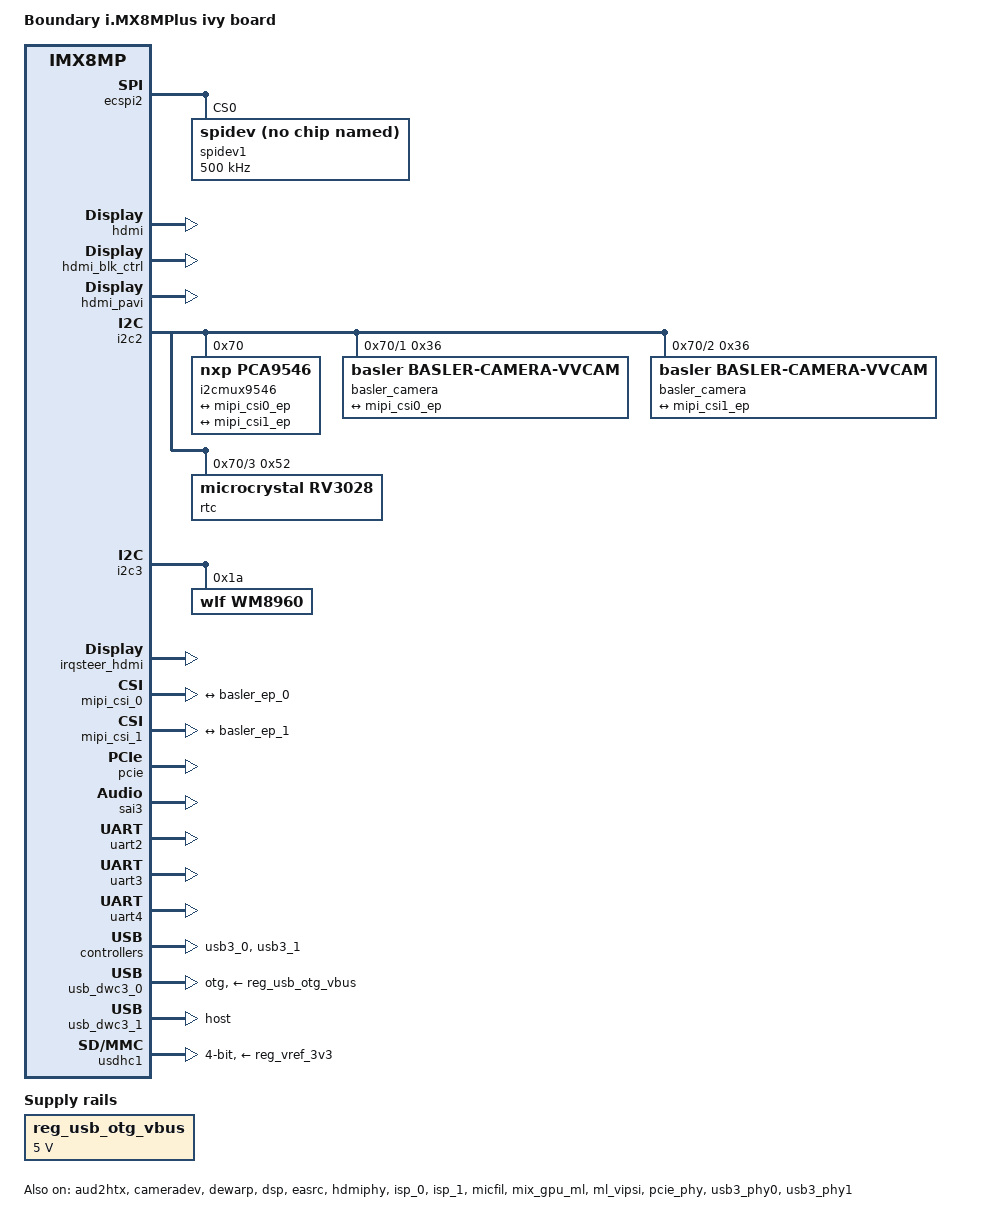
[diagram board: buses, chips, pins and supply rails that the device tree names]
// SPDX-License-Identifier: (GPL-2.0+ OR MIT)
/*
 * Copyright 2020 Boundar y Devices
 */

/dts-v1/;

#include <dt-bindings/usb/pd.h>
#include "imx8mp-nitrogen8mp-som.dtsi"

&iomuxc {
	pinctrl-names = "default";
	pinctrl-0 = <&pinctrl_hog>;

	pinctrl_ecspi1: ecspi1grp {
		fsl,pins = <
			/* J31 */
			MX8MP_IOMUXC_ECSPI1_SCLK__ECSPI1_SCLK		0x82
			MX8MP_IOMUXC_ECSPI1_MOSI__ECSPI1_MOSI		0x82
			MX8MP_IOMUXC_ECSPI1_MISO__ECSPI1_MISO		0x82
#define GP_ECSPI1_CS	<&gpio5 9 GPIO_ACTIVE_LOW>
			MX8MP_IOMUXC_ECSPI1_SS0__GPIO5_IO09		0x143
		>;
	};

	pinctrl_ecspi2: ecspi2grp {
		fsl,pins = <
			/* J31 */
			MX8MP_IOMUXC_ECSPI2_SCLK__ECSPI2_SCLK		0x82
			MX8MP_IOMUXC_ECSPI2_MOSI__ECSPI2_MOSI		0x82
			MX8MP_IOMUXC_ECSPI2_MISO__ECSPI2_MISO		0x82
#define GP_ECSPI2_CS	<&gpio5 13 GPIO_ACTIVE_LOW>
			MX8MP_IOMUXC_ECSPI2_SS0__GPIO5_IO13		0x143
		>;
	};

	pinctrl_hog: hoggrp {
		fsl,pins = <
			MX8MP_IOMUXC_GPIO1_IO03__GPIO1_IO03	0x100	/* NVCC_SD1 should always be 3.3V */
#define GP_RST_L_DEBUG		<&gpio1 11 GPIO_ACTIVE_LOW>
			MX8MP_IOMUXC_GPIO1_IO11__GPIO1_IO11	0x100
#define GPIRQ_L_DEBUG		<&gpio1 7 GPIO_ACTIVE_LOW>
			MX8MP_IOMUXC_GPIO1_IO07__GPIO1_IO07	0x100
			MX8MP_IOMUXC_GPIO1_IO14__GPIO1_IO14	0x16	/* TPN11 */
			MX8MP_IOMUXC_SAI1_RXC__GPIO4_IO01	0x16
#define GP_EXP_DETECT		<&gpio4 2 GPIO_ACTIVE_HIGH>
			MX8MP_IOMUXC_SAI1_RXD0__GPIO4_IO02	0x16
			MX8MP_IOMUXC_SAI1_RXD1__GPIO4_IO03	0x16
#define GP_EXP_RST_L		<&gpio4 4 GPIO_ACTIVE_LOW>
			MX8MP_IOMUXC_SAI1_RXD2__GPIO4_IO04	0x100
#define GP_EXP_GPIO2_3		<&gpio4 6 GPIO_ACTIVE_HIGH>
			MX8MP_IOMUXC_SAI1_RXD4__GPIO4_IO06	0x100
#define GP_EXP_GPIO2_2		<&gpio3 19 GPIO_ACTIVE_HIGH>
			MX8MP_IOMUXC_SAI5_RXFS__GPIO3_IO19	0x100
#define GP_EXP_GPIO2_1		<&gpio4 7 GPIO_ACTIVE_HIGH>
			MX8MP_IOMUXC_SAI1_RXD5__GPIO4_IO07	0x100
#define GP_EXP_GPIO2_0		<&gpio3 20 GPIO_ACTIVE_HIGH>
			MX8MP_IOMUXC_SAI5_RXC__GPIO3_IO20	0x100
#define GP_EXP_GPIO1_3		<&gpio4 8 GPIO_ACTIVE_HIGH>
			MX8MP_IOMUXC_SAI1_RXD6__GPIO4_IO08	0x100
#define GP_EXP_GPIO1_2		<&gpio4 9 GPIO_ACTIVE_HIGH>
			MX8MP_IOMUXC_SAI1_RXD7__GPIO4_IO09	0x100
#define GP_EXP_GPIO1_1		<&gpio3 25 GPIO_ACTIVE_HIGH>
			MX8MP_IOMUXC_SAI5_MCLK__GPIO3_IO25	0x100
#define GP_EXP_GPIO1_0		<&gpio4 11 GPIO_ACTIVE_HIGH>
			MX8MP_IOMUXC_SAI1_TXC__GPIO4_IO11	0x100
#define GP_EXP_GPIO0_7		<&gpio3 24 GPIO_ACTIVE_HIGH>
			MX8MP_IOMUXC_SAI5_RXD3__GPIO3_IO24	0x100
#define GP_EXP_GPIO0_6		<&gpio3 23 GPIO_ACTIVE_HIGH>
			MX8MP_IOMUXC_SAI5_RXD2__GPIO3_IO23	0x100
#define GP_EXP_GPIO0_5		<&gpio4 12 GPIO_ACTIVE_HIGH>
			MX8MP_IOMUXC_SAI1_TXD0__GPIO4_IO12	0x100
#define GP_EXP_GPIO0_4		<&gpio3 22 GPIO_ACTIVE_HIGH>
			MX8MP_IOMUXC_SAI5_RXD1__GPIO3_IO22	0x100
#define GP_EXP_GPIO0_3		<&gpio4 13 GPIO_ACTIVE_HIGH>
			MX8MP_IOMUXC_SAI1_TXD1__GPIO4_IO13	0x100
#define GP_EXP_GPIO0_2		<&gpio4 14 GPIO_ACTIVE_HIGH>
			MX8MP_IOMUXC_SAI1_TXD2__GPIO4_IO14	0x100
#define GP_EXP_GPIO0_1		<&gpio4 15 GPIO_ACTIVE_HIGH>
			MX8MP_IOMUXC_SAI1_TXD3__GPIO4_IO15	0x100
#define GP_EXP_GPIO0_0		<&gpio5 3 GPIO_ACTIVE_HIGH>
			MX8MP_IOMUXC_SPDIF_TX__GPIO5_IO03	0x100
#define GP_CORE_GPIO_5		<&gpio4 16 GPIO_ACTIVE_HIGH>
			MX8MP_IOMUXC_SAI1_TXD4__GPIO4_IO16	0x100
#define GP_CORE_GPIO_4		<&gpio5 4 GPIO_ACTIVE_HIGH>
			MX8MP_IOMUXC_SPDIF_RX__GPIO5_IO04	0x100
#define GP_CORE_GPIO_3		<&gpio5 5 GPIO_ACTIVE_HIGH>
			MX8MP_IOMUXC_SPDIF_EXT_CLK__GPIO5_IO05	0x100
#define GP_CORE_GPIO_2		<&gpio4 19 GPIO_ACTIVE_HIGH>
			MX8MP_IOMUXC_SAI1_TXD7__GPIO4_IO19	0x100
#define GP_CORE_GPIO_1		<&gpio4 10 GPIO_ACTIVE_HIGH>
			MX8MP_IOMUXC_SAI1_TXFS__GPIO4_IO10	0x100
#define GP_CORE_GPIO_0		<&gpio4 20 GPIO_ACTIVE_HIGH>
			MX8MP_IOMUXC_SAI1_MCLK__GPIO4_IO20	0x100
			MX8MP_IOMUXC_HDMI_DDC_SCL__HDMIMIX_HDMI_SCL	0x400001c3
			MX8MP_IOMUXC_HDMI_DDC_SDA__HDMIMIX_HDMI_SDA	0x400001c3
			MX8MP_IOMUXC_HDMI_HPD__HDMIMIX_HDMI_HPD		0x40000019
			MX8MP_IOMUXC_HDMI_CEC__HDMIMIX_HDMI_CEC		0x40000019
			MX8MP_IOMUXC_NAND_DATA02__GPIO3_IO08	0x100
			MX8MP_IOMUXC_NAND_DATA01__GPIO3_IO07	0x100
			MX8MP_IOMUXC_NAND_DATA00__GPIO3_IO06	0x100
			MX8MP_IOMUXC_SD1_RESET_B__GPIO2_IO10	0x100
#define GP_LVDS_GPIO_3		<&gpio4 23 GPIO_ACTIVE_HIGH>
			MX8MP_IOMUXC_SAI2_RXD0__GPIO4_IO23	0x100
#define GP_LVDS0_GPIOB		<&gpio2 06 GPIO_ACTIVE_HIGH>
			MX8MP_IOMUXC_SD1_DATA4__GPIO2_IO06	0x100
			MX8MP_IOMUXC_GPIO1_IO08__GPIO1_IO08	0x100
			MX8MP_IOMUXC_SAI5_RXD0__GPIO3_IO21	0x100
		>;
	};

	pinctrl_i2c2_pca9546: i2c2-pca9546grp {
		fsl,pins = <
#define GP_PCA9546_RESET	<&gpio1 10 GPIO_ACTIVE_LOW>
			MX8MP_IOMUXC_GPIO1_IO10__GPIO1_IO10	0x100
		>;
	};

	pinctrl_i2c2d_rv3028: i2c2d-rv3028grp {
		fsl,pins = <
#define GPIRQ_RV3028		<&gpio1 4 IRQ_TYPE_LEVEL_LOW>
			MX8MP_IOMUXC_GPIO1_IO04__GPIO1_IO04		0x1c0
		>;
	};

	pinctrl_pdm: pdmgrp {
		fsl,pins = <
			MX8MP_IOMUXC_SAI3_RXFS__AUDIOMIX_PDM_BIT_STREAM00	0xd6
		>;
	};

	pinctrl_pcie: pciegrp {
		fsl,pins = <
#define GP_PCIE_RESET	<&gpio4 29 GPIO_ACTIVE_LOW>
			MX8MP_IOMUXC_SAI3_RXC__GPIO4_IO29	0x41
#define GP_PCIE_DISABLE	<&gpio4 26 GPIO_ACTIVE_LOW>
			MX8MP_IOMUXC_SAI2_TXD0__GPIO4_IO26	0x41
		>;
	};

	pinctrl_reg_usbotg_vbus: reg-usbotg-vbusgrp {
		fsl,pins = <
#define GP_REG_USB_OTG_VBUS	<&gpio1 12 GPIO_ACTIVE_HIGH>
			MX8MP_IOMUXC_GPIO1_IO12__GPIO1_IO12	0x16
		>;
	};

	pinctrl_sai3: sai3grp {
		fsl,pins = <
			/* WM8960 */
			MX8MP_IOMUXC_SAI3_TXFS__AUDIOMIX_SAI3_TX_SYNC	0xd6
			MX8MP_IOMUXC_SAI3_TXC__AUDIOMIX_SAI3_TX_BCLK	0xd6
			MX8MP_IOMUXC_SAI3_RXD__AUDIOMIX_SAI3_RX_DATA00	0xd6
			MX8MP_IOMUXC_SAI3_TXD__AUDIOMIX_SAI3_TX_DATA00	0xd6
			MX8MP_IOMUXC_SAI3_MCLK__AUDIOMIX_SAI3_MCLK	0xd6
		>;
	};

	pinctrl_sound_wm8960: sound-wm8960grp {
		fsl,pins = <
#define GP_WM8960_MIC_DET	<&gpio4 18 GPIO_ACTIVE_LOW>
			MX8MP_IOMUXC_SAI1_TXD6__GPIO4_IO18	0x1c0
#define GP_WM8960_HP_DET	<&gpio4 17 GPIO_ACTIVE_HIGH>
			MX8MP_IOMUXC_SAI1_TXD5__GPIO4_IO17	0x80
		>;
	};

	pinctrl_uart2: uart2grp {
		fsl,pins = <
			MX8MP_IOMUXC_UART2_RXD__UART2_DCE_RX	0x140
			MX8MP_IOMUXC_UART2_TXD__UART2_DCE_TX	0x140
		>;
	};

	pinctrl_uart3: uart3grp {
		fsl,pins = <
			MX8MP_IOMUXC_SD1_DATA7__UART3_DCE_RX	0x140
			MX8MP_IOMUXC_SD1_DATA6__UART3_DCE_TX	0x140
		>;
	};

	pinctrl_uart4: uart4grp {
		fsl,pins = <
			MX8MP_IOMUXC_UART4_RXD__UART4_DCE_RX	0x140
			MX8MP_IOMUXC_UART4_TXD__UART4_DCE_TX	0x140
		>;
	};

	pinctrl_usb3_0: usb3-0grp {
		fsl,pins = <
			MX8MP_IOMUXC_GPIO1_IO13__USB1_OTG_OC	0x1c0
		>;
	};

	pinctrl_usb3_1: usb3-1grp {
		fsl,pins = <
#define GP_USB3_1_HUB_RESET	<&gpio1 6 GPIO_ACTIVE_LOW>
			MX8MP_IOMUXC_GPIO1_IO06__GPIO1_IO06	0x16
#define GP_USB3_1_EXP_RESET	<&gpio4 5 GPIO_ACTIVE_LOW>
			MX8MP_IOMUXC_SAI1_RXD3__GPIO4_IO05	0x16
		>;
	};

	pinctrl_usdhc1: usdhc1grp {
		fsl,pins = <
			MX8MP_IOMUXC_SD1_CLK__USDHC1_CLK	0x190
			MX8MP_IOMUXC_SD1_CMD__USDHC1_CMD	0x1d0
			MX8MP_IOMUXC_SD1_DATA0__USDHC1_DATA0	0x1d0
			MX8MP_IOMUXC_SD1_DATA1__USDHC1_DATA1	0x1d0
			MX8MP_IOMUXC_SD1_DATA2__USDHC1_DATA2	0x1d0
			MX8MP_IOMUXC_SD1_DATA3__USDHC1_DATA3	0x1d0
#define GP_USDHC1_CD	<&gpio2 11 GPIO_ACTIVE_LOW>
			MX8MP_IOMUXC_SD1_STROBE__GPIO2_IO11	0x1c4
		>;
	};
};

/ {
	model = "Boundary i.MX8MPlus ivy board";
	compatible = "boundary,imx8mp-ivy", "fsl,imx8mp";

	aliases {
		fb_hdmi = &lcdif3;
	};

	chosen {
		stdout-path = &uart2;
	};

	reg_usb_otg_vbus: regulator-usb-otg-vbus {
		compatible = "regulator-fixed";
		pinctrl-names = "default";
		pinctrl-0 = <&pinctrl_reg_usbotg_vbus>;
		regulator-name = "usb_otg_vbus";
		regulator-min-microvolt = <5000000>;
		regulator-max-microvolt = <5000000>;
		gpio = GP_REG_USB_OTG_VBUS;
		enable-active-high;
	};

	sound-hdmi {
		compatible = "fsl,imx-audio-hdmi";
		model = "audio-hdmi";
		audio-cpu = <&aud2htx>;
		hdmi-out;
		constraint-rate = <44100>,
				<88200>,
				<176400>,
				<32000>,
				<48000>,
				<96000>,
				<192000>;
		status = "okay";
	};

	sound-wm8960 {
#if 0
		asrc-controller = <&easrc>;
#endif
		audio-codec = <&wm8960>;
		audio-cpu = <&sai3>;
		audio-routing =
			"Headphone Jack", "HP_L",
			"Headphone Jack", "HP_R",
			"Ext Spk", "SPK_LP",
			"Ext Spk", "SPK_LN",
			"Ext Spk", "SPK_RP",
			"Ext Spk", "SPK_RN",
			"LINPUT1", "Main MIC",
			"Main MIC", "MICB",
			"RINPUT1", "Mic Jack",
			"Mic Jack", "MICB";
#if 0
			"CPU-Playback", "ASRC-Playback",
			"Playback", "CPU-Playback",
			"ASRC-Capture", "CPU-Capture",
			"CPU-Capture", "Capture";
#endif
		codec-master;
		compatible = "fsl,imx-audio-wm8960";
		hp-det = <2 0>;
		hp-det-gpio = GP_WM8960_HP_DET;
		mic-det-gpio = GP_WM8960_MIC_DET;
		model = "wm8960-audio";
		pinctrl-names = "default";
		pinctrl-0 = <&pinctrl_sound_wm8960>;
	};

	sound-micfil {
		compatible = "fsl,imx-audio-micfil";
		model = "imx-audio-micfil";
		cpu-dai = <&micfil>;
	};
};

&aud2htx {
	status = "okay";
};

&cameradev {
	status = "okay";
};

&dewarp {
	status = "okay";
};

&dsp {
	status = "okay";
};

&easrc {
	fsl,asrc-rate  = <48000>;
	status = "okay";
};

&ecspi2 {
	#address-cells = <1>;
	#size-cells = <0>;
	fsl,spi-num-chipselects = <1>;
	pinctrl-names = "default";
	pinctrl-0 = <&pinctrl_ecspi2>;
	cs-gpios = GP_ECSPI2_CS;
	status = "okay";

	spidev1: spi@0 {
		compatible = "spidev";
		reg = <0>;
		spi-max-frequency = <500000>;
	};
};

&hdmi {
	status = "okay";
};

&hdmiphy {
	status = "okay";
};

&hdmi_blk_ctrl {
	status = "okay";
};

&hdmi_pavi {
	status = "okay";
};

&i2c2 {
	i2cmux9546@70 {
		pinctrl-names = "default";
		pinctrl-0 = <&pinctrl_i2c2_pca9546>;
		compatible = "nxp,pca9546";
		reg = <0x70>;
		reset-gpios = GP_PCA9546_RESET;
		#address-cells = <1>;
		#size-cells = <0>;

		i2c2a: i2c2@0 {
			clock-frequency = <100000>;
			reg = <0>;
			#address-cells = <1>;
			#size-cells = <0>;
		};

		i2c2b: i2c2@1 {
			/* J9  - camera*/
			clock-frequency = <100000>;
			reg = <1>;
			#address-cells = <1>;
			#size-cells = <0>;
			/* edid  @50 */
		};

		i2c2c: i2c2@2 {
			/* J10 - camera */
			clock-frequency = <100000>;
			reg = <2>;
			#address-cells = <1>;
			#size-cells = <0>;
		};

		i2c2d: i2c2@3 {
			/* rtc, J20 mipi */
			clock-frequency = <100000>;
			reg = <3>;
			#address-cells = <1>;
			#size-cells = <0>;
		};
	};
};

&i2c2b {
	basler_camera@36 {
		compatible = "basler,basler-camera-vvcam", "basler-camera-vvcam";
		reg = <0x36>;
		csi_id = <0x00>;
		status = "okay";

		port {
			basler_ep_0: endpoint {
				clock-lanes = <0>;
				data-lanes = <1 2 3 4>;
				link-frequencies = /bits/ 64 <750000000>;
				max-lane-frequency = /bits/ 64 <750000000>;
				max-pixel-frequency = /bits/ 64 <266000000>;
				max-data-rate = /bits/ 64 <0>;
				remote-endpoint = <&mipi_csi0_ep>;
			};
		};
	};
};

&i2c2c {
	basler_camera@36 {
		compatible = "basler,basler-camera-vvcam", "basler-camera-vvcam";
		reg = <0x36>;
		csi_id = <0x01>;
		status = "okay";

		port {
			basler_ep_1: endpoint {
				clock-lanes = <0>;
				data-lanes = <1 2 3 4>;
				link-frequencies = /bits/ 64 <750000000>;
				max-lane-frequency = /bits/ 64 <750000000>;
				max-pixel-frequency = /bits/ 64 <266000000>;
				max-data-rate = /bits/ 64 <0>;
				remote-endpoint = <&mipi_csi1_ep>;
			};
		};
	};
};

&i2c2d {
	rtc@52 {
		backup-switchover-dsm;
		compatible = "microcrystal,rv3028";
		pinctrl-names = "default";
		pinctrl-0 = <&pinctrl_i2c2d_rv3028>;
		reg = <0x52>;
		interrupts-extended = GPIRQ_RV3028;
		wakeup-source;
	};
};

&i2c3 {
	wm8960: codec@1a {
		clock-names = "mclk";
		clocks = <&audio_blk_ctrl IMX8MP_CLK_AUDIO_BLK_CTRL_SAI3_MCLK1>;
		compatible = "wlf,wm8960";
		reg = <0x1a>;
		wlf,gpio-cfg = <1 3>;
		/* JD2: hp detect high for headphone*/
		wlf,hp-cfg = <2 0 3>;
		wlf,shared-lrclk;
	};
};

&irqsteer_hdmi {
	status = "okay";
};

&isp_0 {
	status = "okay";
};

&isp_1 {
	status = "okay";
};

&micfil {
	pinctrl-names = "default";
	pinctrl-0 = <&pinctrl_pdm>;
	assigned-clocks = <&clk IMX8MP_CLK_PDM>;
	assigned-clock-parents = <&clk IMX8MP_AUDIO_PLL1_OUT>;
	assigned-clock-rates = <196608000>;
	status = "okay";
};

&mipi_csi_0 {
	#address-cells = <1>;
	#size-cells = <0>;
	status = "okay";

	port@0 {
		reg = <0>;

		mipi_csi0_ep: endpoint {
			csis-clk-settle = <2>;
			csis-hs-settle = <16>;
			csis-wclk;
			data-lanes = <4>;
			remote-endpoint = <&basler_ep_0>;
		};
	};
};

&mipi_csi_1 {
	#address-cells = <1>;
	#size-cells = <0>;
	status = "okay";

	port@1 {
		reg = <1>;

		mipi_csi1_ep: endpoint {
			csis-clk-settle = <2>;
			csis-hs-settle = <16>;
			csis-wclk;
			data-lanes = <4>;
			remote-endpoint = <&basler_ep_1>;
		};
	};
};

&mipi_dsi {
	clocks = <&media_blk_ctrl IMX8MP_CLK_MEDIA_BLK_CTRL_MIPI_DSI_PCLK>,
		 <&media_blk_ctrl IMX8MP_CLK_MEDIA_BLK_CTRL_MIPI_DSI_CLKREF>,
		 <&clk IMX8MP_CLK_MEDIA_DISP1_PIX_ROOT>;
	clock-names = "cfg", "pll-ref", "pixel_clock";
};

&mix_gpu_ml {
	status = "okay";
};

&ml_vipsi {
	status = "okay";
};

&pcie {
	assigned-clocks = <&clk IMX8MP_CLK_HSIO_AXI>,
			  <&clk IMX8MP_CLK_PCIE_AUX>;
	assigned-clock-parents = <&clk IMX8MP_SYS_PLL2_500M>,
				 <&clk IMX8MP_SYS_PLL2_50M>;
	assigned-clock-rates = <500000000>, <10000000>;
	clocks = <&clk IMX8MP_CLK_HSIO_ROOT>,
		 <&clk IMX8MP_CLK_PCIE_AUX>,
		 <&clk IMX8MP_CLK_HSIO_AXI>,
		 <&clk IMX8MP_CLK_PCIE_ROOT>;
	clock-names = "pcie", "pcie_aux", "pcie_phy", "pcie_bus";
	disable-gpio = GP_PCIE_DISABLE;
	ext_osc = <0>;
	pinctrl-names = "default";
	pinctrl-0 = <&pinctrl_pcie>;
	reset-gpio = GP_PCIE_RESET;
	status = "okay";
};

&pcie_phy {
	clk_mode = <3>;
	status = "okay";
};

&sai3 {
	pinctrl-names = "default";
	pinctrl-0 = <&pinctrl_sai3>;
	assigned-clocks = <&clk IMX8MP_CLK_SAI3>;
	assigned-clock-parents = <&clk IMX8MP_AUDIO_PLL1_OUT>;
	assigned-clock-rates = <12288000>;
	clocks = <&audio_blk_ctrl IMX8MP_CLK_AUDIO_BLK_CTRL_SAI3_IPG>, <&clk IMX8MP_CLK_DUMMY>,
		 <&audio_blk_ctrl IMX8MP_CLK_AUDIO_BLK_CTRL_SAI3_MCLK1>, <&clk IMX8MP_CLK_DUMMY>,
		 <&clk IMX8MP_CLK_DUMMY>;
	clock-names = "bus", "mclk0", "mclk1", "mclk2", "mclk3";
	fsl,sai-mclk-direction-output;
	status = "okay";
};

&uart2 {
	/* console */
	pinctrl-names = "default";
	pinctrl-0 = <&pinctrl_uart2>;
	status = "okay";
};

&uart3 {
	pinctrl-names = "default";
	pinctrl-0 = <&pinctrl_uart3>;
	assigned-clocks = <&clk IMX8MP_CLK_UART3>;
	assigned-clock-parents = <&clk IMX8MP_SYS_PLL1_80M>;
	status = "okay";
};

&uart4 {
	pinctrl-names = "default";
	pinctrl-0 = <&pinctrl_uart4>;
	assigned-clocks = <&clk IMX8MP_CLK_UART4>;
	assigned-clock-parents = <&clk IMX8MP_SYS_PLL1_80M>;
	status = "okay";
};

&usb3_0 {
	fsl,over-current-active-low;
	status = "okay";
};

&usb3_1 {
	status = "okay";
};

&usb_dwc3_0 {
	dr_mode = "otg";
	pinctrl-names = "default";
	pinctrl-0 = <&pinctrl_usb3_0>;
	status = "okay";
	vbus-supply = <&reg_usb_otg_vbus>;
};

&usb_dwc3_1 {
	dr_mode = "host";
	pinctrl-names = "default";
	pinctrl-0 = <&pinctrl_usb3_1>;
	reset-gpios = GP_USB3_1_HUB_RESET, GP_USB3_1_EXP_RESET;
	status = "okay";
};

&usb3_phy0 {
	fsl,phy-tx-preemp-amp-tune = <2>;
	status = "okay";
	vbus-supply = <&reg_vref_5v0>;
};

&usb3_phy1 {
	fsl,phy-tx-preemp-amp-tune = <2>;
	status = "okay";
	vbus-supply = <&reg_vref_5v0>;
};

&usdhc1 {
	bus-width = <4>;
	cd-gpios = GP_USDHC1_CD;
	pinctrl-names = "default";
	pinctrl-0 = <&pinctrl_usdhc1>;
	status = "okay";
	vmmc-supply = <&reg_vref_3v3>;
};

/* J20 mipi display */
#define MIPI_DISPLAY		lcdif1
#define MIPI_SUBSYSTEM		display_subsystem
#define MIPI_I2C_BUS		i2c2d
#define MIPI_PWM		pwm1
#define MIPI_PHY_CLOCK		<&mipi_dsi 0>
#define MIPI_PIXEL_CLOCK	<&clk IMX8MP_CLK_MEDIA_DISP1_PIX_ROOT>

#define MIPI_PWM_GP		gpio1 1
#define MIPI_PWM_PAD		MX8MP_IOMUXC_GPIO1_IO01__PWM1_OUT
#define MIPI_PWM_PAD_GPIO	MX8MP_IOMUXC_GPIO1_IO01__GPIO1_IO01	/* Pin 7 */

#define MIPI_IRQ_GP		gpio4 0
#define MIPI_IRQ_PAD		MX8MP_IOMUXC_SAI1_RXFS__GPIO4_IO00	/* Pin 8 */

#define MIPI_TS_IRQ_GP		gpio4 25
#define MIPI_TS_IRQ_PAD		MX8MP_IOMUXC_SAI2_TXC__GPIO4_IO25	/* Pin 9 */

#define MIPI_TS_RESET_GP	gpio4 24
#define MIPI_TS_RESET_PAD	MX8MP_IOMUXC_SAI2_TXFS__GPIO4_IO24	/* Pin 10 */

#define MIPI_ENABLE_GP		gpio4 27
#define MIPI_ENABLE_PAD		MX8MP_IOMUXC_SAI2_MCLK__GPIO4_IO27	/* Pin 11 */

#define PAD_NOPULL		0x0
#define PAD_PULLDN		0x100
#define PAD_PULLUP		0x140
#define PAD_PULLDNIRQ		0x180
#define PAD_PULLUPIRQ		0x1c0
#include "nitrogen-mipi-dsi.dtsi"

#define LVDS_DISPLAY		lcdif2
#define LVDS_PWM		pwm2
#define LVDS_PWM_PAD(a)		MX8MP_IOMUXC_GPIO1_IO09__PWM2_OUT a

#define LVDS_BACKLIGHT_GP	gpio4 22
#define LVDS_BACKLIGHT_PAD	MX8MP_IOMUXC_SAI2_RXC__GPIO4_IO22	/* GP_LVDS0_GPIOA */

#define LVDS_TS_IRQ_GP		gpio4 21
#define LVDS_TS_IRQ_PAD		MX8MP_IOMUXC_SAI2_RXFS__GPIO4_IO21	/* GP_LVDS1_GPIOA */

#define LVDS_TS_RESET_GP	gpio2 7
#define LVDS_TS_RESET_PAD(a)	MX8MP_IOMUXC_SD1_DATA5__GPIO2_IO07 a	/* GP_LVDS1_GPIOB */
#include "nitrogen-lvds.dtsi"
